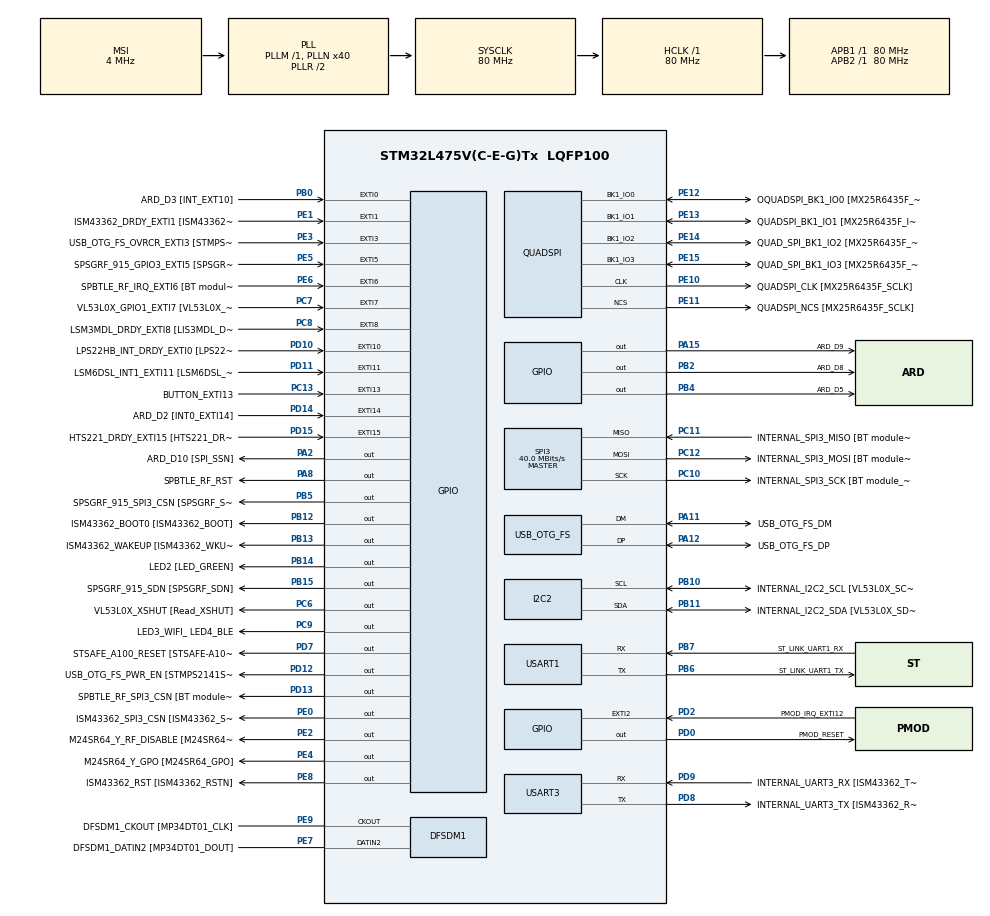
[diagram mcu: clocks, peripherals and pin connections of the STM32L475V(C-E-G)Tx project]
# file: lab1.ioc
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FREERTOS.Tasks01=defaultTask,24,128,StartDefaultTask,Default,NULL,Dynamic,NULL,NULL;myTask02,24,128,StartTask02,Default,NULL,Dynamic,NULL,NULL
I2C2.Timing=0x10D19CE4
Mcu.Family=STM32L4
Mcu.Name=STM32L475V(C-E-G)Tx
Mcu.Package=LQFP100
NVIC.EXTI15_10_IRQn=true\:5\:0\:false\:false\:true\:true\:true\:true\:true
NVIC.EXTI9_5_IRQn=true\:5\:0\:false\:false\:true\:true\:true\:true\:true
NVIC.PriorityGroup=NVIC_PRIORITYGROUP_4
NVIC.TIM6_DAC_IRQn=true\:5\:0\:false\:false\:true\:true\:true\:true\:true
PA0.GPIO_Label=ARD_D1 [UART4_TX]
PA0.Signal=UART4_TX
PA1.GPIO_Label=ARD_D0 [UART4_RX]
PA1.Signal=UART4_RX
PA10.GPIO_Label=USB_OTG_FS_ID
PA10.Signal=USB_OTG_FS_ID
PA11.GPIO_Label=USB_OTG_FS_DM
PA11.Mode=Device_Only
PA11.Signal=USB_OTG_FS_DM
PA12.GPIO_Label=USB_OTG_FS_DP
PA12.Mode=Device_Only
PA12.Signal=USB_OTG_FS_DP
PA13\ (JTMS-SWDIO).GPIO_Label=SYS_JTMS_SWDIO
PA13\ (JTMS-SWDIO).Mode=Serial_Wire
PA13\ (JTMS-SWDIO).Signal=SYS_JTMS-SWDIO
PA14\ (JTCK-SWCLK).GPIO_Label=SYS_JTCK_SWCLK
PA14\ (JTCK-SWCLK).Mode=Serial_Wire
PA14\ (JTCK-SWCLK).Signal=SYS_JTCK-SWCLK
PA15\ (JTDI).GPIO_Label=ARD_D9
PA15\ (JTDI).Signal=GPIO_Output
PA2.GPIO_Label=ARD_D10 [SPI_SSN]
PA2.Signal=GPIO_Output
PA3.GPIO_Label=ARD_D4
PA3.Signal=S_TIM2_CH4
PA4.GPIO_Label=ARD_D7
PA4.Signal=ADCx_IN9
PA5.GPIO_Label=ARD_D13 [SPI1_SCK]
PA5.Signal=SPI1_SCK
PA6.GPIO_Label=ARD_D12 [SPI1_MISO]
PA6.Signal=SPI1_MISO
PA7.GPIO_Label=ARD_D11 [SPI1_MOSI]
PA7.Signal=SPI1_MOSI
PA8.GPIO_Label=SPBTLE_RF_RST
PA8.Signal=GPIO_Output
PA9.GPIO_Label=USB_OTG_FS_VBUS [STMPS2141STR_OUT]
PA9.Signal=USB_OTG_FS_VBUS
PB0.GPIO_Label=ARD_D3 [INT_EXT10]
PB0.Signal=GPXTI0
PB1.GPIO_Label=ARD_D6 [ADC1_IN6]
PB1.Signal=ADCx_IN16
PB10.GPIO_Label=INTERNAL_I2C2_SCL [VL53L0X_SCL]
PB10.GPIO_Pu=GPIO_PULLUP
PB10.Mode=I2C
PB10.Signal=I2C2_SCL
PB11.GPIO_Label=INTERNAL_I2C2_SDA [VL53L0X_SDA]
PB11.GPIO_Pu=GPIO_PULLUP
PB11.Mode=I2C
PB11.Signal=I2C2_SDA
PB12.GPIO_Label=ISM43362_BOOT0 [ISM43362_BOOT]
PB12.Signal=GPIO_Output
PB13.GPIO_Label=ISM43362_WAKEUP [ISM43362_WKUP]
PB13.Signal=GPIO_Output
PB14.GPIO_Label=LED2 [LED_GREEN]
PB14.Signal=GPIO_Output
PB15.GPIO_Label=SPSGRF_915_SDN [SPSGRF_SDN]
PB15.Signal=GPIO_Output
PB2.GPIO_Label=ARD_D8
PB2.Signal=GPIO_Output
PB3\ (JTDO-TRACESWO).GPIO_Label=SYS_JTD0_SWO
PB3\ (JTDO-TRACESWO).Signal=SYS_JTDO-SWO
PB4\ (NJTRST).GPIO_Label=ARD_D5
PB4\ (NJTRST).Signal=GPIO_Output
PB5.GPIO_Label=SPSGRF_915_SPI3_CSN [SPSGRF_SPI_CS]
PB5.PinState=GPIO_PIN_SET
PB5.Signal=GPIO_Output
PB6.GPIO_Label=ST_LINK_UART1_TX
PB6.Mode=Asynchronous
PB6.Signal=USART1_TX
PB7.GPIO_Label=ST_LINK_UART1_RX
PB7.Mode=Asynchronous
PB7.Signal=USART1_RX
PB8.GPIO_Label=ARD_D15 [I2C1_SCL]
PB8.Signal=I2C1_SCL
PB9.GPIO_Label=ARD_D14 [I2C1_SDA]
PB9.Signal=I2C1_SDA
PC0.GPIO_Label=ARD_A5 [ADC]
PC0.Signal=ADCx_IN1
PC1.GPIO_Label=ARD_A4 [ADC]
PC1.Signal=ADCx_IN2
PC10.GPIO_Label=INTERNAL_SPI3_SCK [BT module_SPI_SCLK] [ISM43362_SCK]
PC10.Mode=Full_Duplex_Master
PC10.Signal=SPI3_SCK
PC11.GPIO_Label=INTERNAL_SPI3_MISO [BT module_SPI_MISO] [ISM43362_MISO]
PC11.Mode=Full_Duplex_Master
PC11.Signal=SPI3_MISO
PC12.GPIO_Label=INTERNAL_SPI3_MOSI [BT module_SPI_MOSI] [ISM43362_MOSI]
PC12.Mode=Full_Duplex_Master
PC12.Signal=SPI3_MOSI
PC13.GPIO_Label=BUTTON_EXTI13
PC13.GPIO_ModeDefaultEXTI=GPIO_MODE_IT_FALLING
PC13.Signal=GPXTI13
PC14-OSC32_IN\ (PC14).Mode=LSE-External-Oscillator
PC14-OSC32_IN\ (PC14).Signal=RCC_OSC32_IN
PC15-OSC32_OUT\ (PC15).Mode=LSE-External-Oscillator
PC15-OSC32_OUT\ (PC15).Signal=RCC_OSC32_OUT
PC2.GPIO_Label=ARD_A3 [ADC]
PC2.Signal=ADCx_IN3
PC3.GPIO_Label=ARD_A2 [ADC]
PC3.Signal=ADCx_IN4
PC4.GPIO_Label=ARD_A1 [ADC]
PC4.Signal=ADCx_IN13
PC5.GPIO_Label=ARD_A0 [ADC]
PC5.Signal=ADCx_IN14
PC6.GPIO_Label=VL53L0X_XSHUT [Read_XSHUT]
PC6.Signal=GPIO_Output
PC7.GPIO_Label=VL53L0X_GPIO1_EXTI7 [VL53L0X_GPIO1]
PC7.Signal=GPXTI7
PC8.GPIO_Label=LSM3MDL_DRDY_EXTI8 [LIS3MDL_DRDY]
PC8.Signal=GPXTI8
PC9.GPIO_Label=LED3_WIFI_ LED4_BLE
PC9.Signal=GPIO_Output
PD0.GPIO_Label=PMOD_RESET
PD0.Signal=GPIO_Output
PD1.GPIO_Label=PMOD_SPI2_SCK
PD1.Signal=SPI2_SCK
PD10.GPIO_Label=LPS22HB_INT_DRDY_EXTI0 [LPS22HB_INT_DRDY] 
PD10.Signal=GPXTI10
PD11.GPIO_Label=LSM6DSL_INT1_EXTI11 [LSM6DSL_INT1]
PD11.Signal=GPXTI11
PD12.GPIO_Label=USB_OTG_FS_PWR_EN [STMPS2141STR_EN]
PD12.Signal=GPIO_Output
PD13.GPIO_Label=SPBTLE_RF_SPI3_CSN [BT module_SPI_CS]
PD13.PinState=GPIO_PIN_SET
PD13.Signal=GPIO_Output
PD14.GPIO_Label=ARD_D2 [INT0_EXTI14]
PD14.Signal=GPXTI14
PD15.GPIO_Label=HTS221_DRDY_EXTI15 [HTS221_DRDY]
PD15.Signal=GPXTI15
PD2.GPIO_Label=PMOD_IRQ_EXTI12
PD2.Signal=GPXTI2
PD3.GPIO_Label=PMOD_UART2_CTS
PD3.Signal=USART2_CTS
PD4.GPIO_Label=PMOD_UART2_RTS
PD4.Signal=USART2_RTS
PD5.GPIO_Label=PMOD_UART2_TX
PD5.Signal=USART2_TX
PD6.GPIO_Label=PMOD_UART2_RX
PD6.Signal=USART2_RX
PD7.GPIO_Label=STSAFE_A100_RESET [STSAFE-A100_RESET]
PD7.Signal=GPIO_Output
PD8.GPIO_Label=INTERNAL_UART3_TX [ISM43362_RX]
PD8.Mode=Asynchronous
PD8.Signal=USART3_TX
PD9.GPIO_Label=INTERNAL_UART3_RX [ISM43362_TX]
PD9.Mode=Asynchronous
PD9.Signal=USART3_RX
PE0.GPIO_Label=ISM43362_SPI3_CSN [ISM43362_SSN]
PE0.PinState=GPIO_PIN_SET
PE0.Signal=GPIO_Output
PE1.GPIO_Label=ISM43362_DRDY_EXTI1 [ISM43362_DATARDY]
PE1.Signal=GPXTI1
PE10.GPIO_Label=QUADSPI_CLK [MX25R6435F_SCLK]
PE10.Mode=Single Bank
PE10.Signal=QUADSPI_CLK
PE11.GPIO_Label=QUADSPI_NCS [MX25R6435F_SCLK]
PE11.Mode=Single Bank
PE11.Signal=QUADSPI_NCS
PE12.GPIO_Label=OQUADSPI_BK1_IO0 [MX25R6435F_IO0]
PE12.Mode=Single Bank
PE12.Signal=QUADSPI_BK1_IO0
PE13.GPIO_Label=QUADSPI_BK1_IO1 [MX25R6435F_IO1]
PE13.Mode=Single Bank
PE13.Signal=QUADSPI_BK1_IO1
PE14.GPIO_Label=QUAD_SPI_BK1_IO2 [MX25R6435F_IO2]
PE14.Mode=Single Bank
PE14.Signal=QUADSPI_BK1_IO2
PE15.GPIO_Label=QUAD_SPI_BK1_IO3 [MX25R6435F_IO3]
PE15.Mode=Single Bank
PE15.Signal=QUADSPI_BK1_IO3
PE2.GPIO_Label=M24SR64_Y_RF_DISABLE [M24SR64_RFDIS]
PE2.Signal=GPIO_Output
PE3.GPIO_Label=USB_OTG_FS_OVRCR_EXTI3 [STMPS2141STR_FAULT]
PE3.Signal=GPXTI3
PE4.GPIO_Label=M24SR64_Y_GPO [M24SR64_GPO]
PE4.Signal=GPIO_Output
PE5.GPIO_Label=SPSGRF_915_GPIO3_EXTI5 [SPSGRF_GPIO_3]
PE5.Signal=GPXTI5
PE6.GPIO_Label=SPBTLE_RF_IRQ_EXTI6 [BT module_SPI_IRQ]
PE6.Signal=GPXTI6
PE7.GPIO_Label=DFSDM1_DATIN2 [MP34DT01_DOUT]
PE7.Signal=S_DATAIN2DFSDM1
PE8.GPIO_Label=ISM43362_RST [ISM43362_RSTN]
PE8.Signal=GPIO_Output
PE9.GPIO_Label=DFSDM1_CKOUT [MP34DT01_CLK]
PE9.Signal=S_CKOUTDFSDM1
ProjectManager.HeapSize=0x200
ProjectManager.StackSize=0x400
ProjectManager.TargetToolchain=STM32CubeIDE
QUADSPI.ClockPrescaler=2
QUADSPI.FifoThreshold=4
QUADSPI.FlashSize=23
QUADSPI.SampleShifting=QSPI_SAMPLE_SHIFTING_HALFCYCLE
RCC.ADCFreq_Value=48000000
RCC.AHBFreq_Value=80000000
RCC.APB1Freq_Value=80000000
RCC.APB1TimFreq_Value=80000000
RCC.APB2Freq_Value=80000000
RCC.APB2TimFreq_Value=80000000
RCC.CortexFreq_Value=80000000
RCC.HCLKFreq_Value=80000000
RCC.HSE_VALUE=8000000
RCC.HSI_VALUE=16000000
RCC.MSI_VALUE=4000000
RCC.PLLN=40
RCC.PLLSAI1N=24
RCC.SYSCLKFreq_VALUE=80000000
RCC.SYSCLKSource=RCC_SYSCLKSOURCE_PLLCLK
RCC.USBFreq_Value=48000000
RCC.VCOOutputFreq_Value=160000000
SH.ADCx_IN1.0=ADC1_IN1
SH.ADCx_IN13.0=ADC1_IN13
SH.ADCx_IN14.0=ADC1_IN14
SH.ADCx_IN16.0=ADC1_IN16
SH.ADCx_IN2.0=ADC1_IN2
SH.ADCx_IN3.0=ADC1_IN3
SH.ADCx_IN4.0=ADC1_IN4
SH.ADCx_IN9.0=ADC1_IN9
SH.S_CKOUTDFSDM1.0=DFSDM1_CKOUT,CKOUT
SH.S_CKOUTDFSDM1.1=DFSDM1_CKOUT,PDM_SPI_Input_from_ch12_and_Internal_Clock
SH.S_DATAIN2DFSDM1.0=DFSDM1_DATIN2,PDM_SPI_Input_from_ch12_and_Internal_Clock
SH.S_TIM2_CH4.0=TIM2_CH4
SPI3.CalculateBaudRate=40.0 MBits/s
SPI3.Direction=SPI_DIRECTION_2LINES
SPI3.Mode=SPI_MODE_MASTER
SPI3.VirtualType=VM_MASTER
TIM6.AutoReloadPreload=TIM_AUTORELOAD_PRELOAD_ENABLE
TIM6.Period=19999
TIM6.Prescaler=39999
USART1.VirtualMode-Asynchronous=VM_ASYNC
USART3.VirtualMode-Asynchronous=VM_ASYNC
USB_OTG_FS.VirtualMode=Device_Only
VP_FREERTOS_VS_CMSIS_V2.Mode=CMSIS_V2
VP_TIM6_VS_ClockSourceINT.Mode=Enable_Timer
board=B-L475E-IOT01A2

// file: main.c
/* USER CODE BEGIN Header */
/**
  ******************************************************************************
  * @file           : main.c
  * @brief          : Main program body
  ******************************************************************************
  * @attention
  *
  * Copyright (c) 2024 STMicroelectronics.
  * All rights reserved.
  *
  * This software is licensed under terms that can be found in the LICENSE file
  * in the root directory of this software component.
  * If no LICENSE file comes with this software, it is provided AS-IS.
  *
  ******************************************************************************
  */
/* USER CODE END Header */
#include "main.h"
#include "cmsis_os.h"

DFSDM_Channel_HandleTypeDef hdfsdm1_channel1;

I2C_HandleTypeDef hi2c2;

QSPI_HandleTypeDef hqspi;

SPI_HandleTypeDef hspi3;

TIM_HandleTypeDef htim6;

UART_HandleTypeDef huart1;
UART_HandleTypeDef huart3;

PCD_HandleTypeDef hpcd_USB_OTG_FS;

/* Definitions for defaultTask */
osThreadId_t defaultTaskHandle;
const osThreadAttr_t defaultTask_attributes = {
  .name = "defaultTask",
  .stack_size = 128 * 4,
  .priority = (osPriority_t) osPriorityNormal,
};
/* Definitions for myTask02 */
osThreadId_t myTask02Handle;
const osThreadAttr_t myTask02_attributes = {
  .name = "myTask02",
  .stack_size = 128 * 4,
  .priority = (osPriority_t) osPriorityNormal,
};
/* USER CODE BEGIN PV */
osSemaphoreId s_id, t_id;
osMutexId_t m_id;
/* USER CODE END PV */

void SystemClock_Config(void);
static void MX_GPIO_Init(void);
static void MX_DFSDM1_Init(void);
static void MX_I2C2_Init(void);
static void MX_QUADSPI_Init(void);
static void MX_SPI3_Init(void);
static void MX_USART1_UART_Init(void);
static void MX_USART3_UART_Init(void);
static void MX_USB_OTG_FS_PCD_Init(void);
static void MX_TIM6_Init(void);
void StartDefaultTask(void *argument);
void StartTask02(void *argument);

int main(void)
{

  /* MCU Configuration--------------------------------------------------------*/

  /* Reset of all peripherals, Initializes the Flash interface and the Systick. */
  HAL_Init();

  /* Configure the system clock */
  SystemClock_Config();

  /* Initialize all configured peripherals */
  MX_GPIO_Init();
  MX_DFSDM1_Init();
  MX_I2C2_Init();
  MX_QUADSPI_Init();
  MX_SPI3_Init();
  MX_USART1_UART_Init();
  MX_USART3_UART_Init();
  MX_USB_OTG_FS_PCD_Init();
  MX_TIM6_Init();

  /* Init scheduler */
  osKernelInitialize();

  /* USER CODE BEGIN RTOS_MUTEX */
  /* add mutexes, ... */
  m_id = osMutexNew(NULL);
  /* USER CODE END RTOS_MUTEX */

  /* USER CODE BEGIN RTOS_SEMAPHORES */
  /* add semaphores, ... */
  s_id = osSemaphoreNew(1,0,NULL);
  t_id = osSemaphoreNew(1,0,NULL);
  /* USER CODE END RTOS_SEMAPHORES */

  /* Create the thread(s) */
  /* creation of defaultTask */
  defaultTaskHandle = osThreadNew(StartDefaultTask, NULL, &defaultTask_attributes);

  /* creation of myTask02 */
  myTask02Handle = osThreadNew(StartTask02, NULL, &myTask02_attributes);

  /* Start scheduler */
  osKernelStart();

  /* We should never get here as control is now taken by the scheduler */

  /* Infinite loop */
  while (1)
  {

  }
}

void SystemClock_Config(void)
{
  RCC_OscInitTypeDef RCC_OscInitStruct = {0};
  RCC_ClkInitTypeDef RCC_ClkInitStruct = {0};

  /** Configure the main internal regulator output voltage
  */
  if (HAL_PWREx_ControlVoltageScaling(PWR_REGULATOR_VOLTAGE_SCALE1) != HAL_OK)
  {
    Error_Handler();
  }

  /** Configure LSE Drive Capability
  */
  HAL_PWR_EnableBkUpAccess();
  __HAL_RCC_LSEDRIVE_CONFIG(RCC_LSEDRIVE_LOW);

  /** Initializes the RCC Oscillators according to the specified parameters
  * in the RCC_OscInitTypeDef structure.
  */
  RCC_OscInitStruct.OscillatorType = RCC_OSCILLATORTYPE_LSE|RCC_OSCILLATORTYPE_MSI;
  RCC_OscInitStruct.LSEState = RCC_LSE_ON;
  RCC_OscInitStruct.MSIState = RCC_MSI_ON;
  RCC_OscInitStruct.MSICalibrationValue = 0;
  RCC_OscInitStruct.MSIClockRange = RCC_MSIRANGE_6;
  RCC_OscInitStruct.PLL.PLLState = RCC_PLL_ON;
  RCC_OscInitStruct.PLL.PLLSource = RCC_PLLSOURCE_MSI;
  RCC_OscInitStruct.PLL.PLLM = 1;
  RCC_OscInitStruct.PLL.PLLN = 40;
  RCC_OscInitStruct.PLL.PLLP = RCC_PLLP_DIV7;
  RCC_OscInitStruct.PLL.PLLQ = RCC_PLLQ_DIV2;
  RCC_OscInitStruct.PLL.PLLR = RCC_PLLR_DIV2;
  if (HAL_RCC_OscConfig(&RCC_OscInitStruct) != HAL_OK)
  {
    Error_Handler();
  }

  /** Initializes the CPU, AHB and APB buses clocks
  */
  RCC_ClkInitStruct.ClockType = RCC_CLOCKTYPE_HCLK|RCC_CLOCKTYPE_SYSCLK
                              |RCC_CLOCKTYPE_PCLK1|RCC_CLOCKTYPE_PCLK2;
  RCC_ClkInitStruct.SYSCLKSource = RCC_SYSCLKSOURCE_PLLCLK;
  RCC_ClkInitStruct.AHBCLKDivider = RCC_SYSCLK_DIV1;
  RCC_ClkInitStruct.APB1CLKDivider = RCC_HCLK_DIV1;
  RCC_ClkInitStruct.APB2CLKDivider = RCC_HCLK_DIV1;

  if (HAL_RCC_ClockConfig(&RCC_ClkInitStruct, FLASH_LATENCY_4) != HAL_OK)
  {
    Error_Handler();
  }

  /** Enable MSI Auto calibration
  */
  HAL_RCCEx_EnableMSIPLLMode();
}

static void MX_DFSDM1_Init(void)
{

  hdfsdm1_channel1.Instance = DFSDM1_Channel1;
  hdfsdm1_channel1.Init.OutputClock.Activation = ENABLE;
  hdfsdm1_channel1.Init.OutputClock.Selection = DFSDM_CHANNEL_OUTPUT_CLOCK_SYSTEM;
  hdfsdm1_channel1.Init.OutputClock.Divider = 2;
  hdfsdm1_channel1.Init.Input.Multiplexer = DFSDM_CHANNEL_EXTERNAL_INPUTS;
  hdfsdm1_channel1.Init.Input.DataPacking = DFSDM_CHANNEL_STANDARD_MODE;
  hdfsdm1_channel1.Init.Input.Pins = DFSDM_CHANNEL_FOLLOWING_CHANNEL_PINS;
  hdfsdm1_channel1.Init.SerialInterface.Type = DFSDM_CHANNEL_SPI_RISING;
  hdfsdm1_channel1.Init.SerialInterface.SpiClock = DFSDM_CHANNEL_SPI_CLOCK_INTERNAL;
  hdfsdm1_channel1.Init.Awd.FilterOrder = DFSDM_CHANNEL_FASTSINC_ORDER;
  hdfsdm1_channel1.Init.Awd.Oversampling = 1;
  hdfsdm1_channel1.Init.Offset = 0;
  hdfsdm1_channel1.Init.RightBitShift = 0x00;
  if (HAL_DFSDM_ChannelInit(&hdfsdm1_channel1) != HAL_OK)
  {
    Error_Handler();
  }

}

static void MX_I2C2_Init(void)
{

  hi2c2.Instance = I2C2;
  hi2c2.Init.Timing = 0x10D19CE4;
  hi2c2.Init.OwnAddress1 = 0;
  hi2c2.Init.AddressingMode = I2C_ADDRESSINGMODE_7BIT;
  hi2c2.Init.DualAddressMode = I2C_DUALADDRESS_DISABLE;
  hi2c2.Init.OwnAddress2 = 0;
  hi2c2.Init.OwnAddress2Masks = I2C_OA2_NOMASK;
  hi2c2.Init.GeneralCallMode = I2C_GENERALCALL_DISABLE;
  hi2c2.Init.NoStretchMode = I2C_NOSTRETCH_DISABLE;
  if (HAL_I2C_Init(&hi2c2) != HAL_OK)
  {
    Error_Handler();
  }

  /** Configure Analogue filter
  */
  if (HAL_I2CEx_ConfigAnalogFilter(&hi2c2, I2C_ANALOGFILTER_ENABLE) != HAL_OK)
  {
    Error_Handler();
  }

  /** Configure Digital filter
  */
  if (HAL_I2CEx_ConfigDigitalFilter(&hi2c2, 0) != HAL_OK)
  {
    Error_Handler();
  }

}

static void MX_QUADSPI_Init(void)
{

  /* QUADSPI parameter configuration*/
  hqspi.Instance = QUADSPI;
  hqspi.Init.ClockPrescaler = 2;
  hqspi.Init.FifoThreshold = 4;
  hqspi.Init.SampleShifting = QSPI_SAMPLE_SHIFTING_HALFCYCLE;
  hqspi.Init.FlashSize = 23;
  hqspi.Init.ChipSelectHighTime = QSPI_CS_HIGH_TIME_1_CYCLE;
  hqspi.Init.ClockMode = QSPI_CLOCK_MODE_0;
  if (HAL_QSPI_Init(&hqspi) != HAL_OK)
  {
    Error_Handler();
  }

}

static void MX_SPI3_Init(void)
{

  /* SPI3 parameter configuration*/
  hspi3.Instance = SPI3;
  hspi3.Init.Mode = SPI_MODE_MASTER;
  hspi3.Init.Direction = SPI_DIRECTION_2LINES;
  hspi3.Init.DataSize = SPI_DATASIZE_4BIT;
  hspi3.Init.CLKPolarity = SPI_POLARITY_LOW;
  hspi3.Init.CLKPhase = SPI_PHASE_1EDGE;
  hspi3.Init.NSS = SPI_NSS_SOFT;
  hspi3.Init.BaudRatePrescaler = SPI_BAUDRATEPRESCALER_2;
  hspi3.Init.FirstBit = SPI_FIRSTBIT_MSB;
  hspi3.Init.TIMode = SPI_TIMODE_DISABLE;
  hspi3.Init.CRCCalculation = SPI_CRCCALCULATION_DISABLE;
  hspi3.Init.CRCPolynomial = 7;
  hspi3.Init.CRCLength = SPI_CRC_LENGTH_DATASIZE;
  hspi3.Init.NSSPMode = SPI_NSS_PULSE_ENABLE;
  if (HAL_SPI_Init(&hspi3) != HAL_OK)
  {
    Error_Handler();
  }

}

static void MX_TIM6_Init(void)
{

  TIM_MasterConfigTypeDef sMasterConfig = {0};

  htim6.Instance = TIM6;
  htim6.Init.Prescaler = 39999;
  htim6.Init.CounterMode = TIM_COUNTERMODE_UP;
  htim6.Init.Period = 19999;
  htim6.Init.AutoReloadPreload = TIM_AUTORELOAD_PRELOAD_ENABLE;
  if (HAL_TIM_Base_Init(&htim6) != HAL_OK)
  {
    Error_Handler();
  }
  sMasterConfig.MasterOutputTrigger = TIM_TRGO_RESET;
  sMasterConfig.MasterSlaveMode = TIM_MASTERSLAVEMODE_DISABLE;
  if (HAL_TIMEx_MasterConfigSynchronization(&htim6, &sMasterConfig) != HAL_OK)
  {
    Error_Handler();
  }
  /* USER CODE BEGIN TIM6_Init 2 */
  HAL_TIM_Base_Start_IT(&htim6);
  /* USER CODE END TIM6_Init 2 */

}

static void MX_USART1_UART_Init(void)
{

  huart1.Instance = USART1;
  huart1.Init.BaudRate = 115200;
  huart1.Init.WordLength = UART_WORDLENGTH_8B;
  huart1.Init.StopBits = UART_STOPBITS_1;
  huart1.Init.Parity = UART_PARITY_NONE;
  huart1.Init.Mode = UART_MODE_TX_RX;
  huart1.Init.HwFlowCtl = UART_HWCONTROL_NONE;
  huart1.Init.OverSampling = UART_OVERSAMPLING_16;
  huart1.Init.OneBitSampling = UART_ONE_BIT_SAMPLE_DISABLE;
  huart1.AdvancedInit.AdvFeatureInit = UART_ADVFEATURE_NO_INIT;
  if (HAL_UART_Init(&huart1) != HAL_OK)
  {
    Error_Handler();
  }

}

static void MX_USART3_UART_Init(void)
{

  huart3.Instance = USART3;
  huart3.Init.BaudRate = 115200;
  huart3.Init.WordLength = UART_WORDLENGTH_8B;
  huart3.Init.StopBits = UART_STOPBITS_1;
  huart3.Init.Parity = UART_PARITY_NONE;
  huart3.Init.Mode = UART_MODE_TX_RX;
  huart3.Init.HwFlowCtl = UART_HWCONTROL_NONE;
  huart3.Init.OverSampling = UART_OVERSAMPLING_16;
  huart3.Init.OneBitSampling = UART_ONE_BIT_SAMPLE_DISABLE;
  huart3.AdvancedInit.AdvFeatureInit = UART_ADVFEATURE_NO_INIT;
  if (HAL_UART_Init(&huart3) != HAL_OK)
  {
    Error_Handler();
  }

}

static void MX_USB_OTG_FS_PCD_Init(void)
{

  hpcd_USB_OTG_FS.Instance = USB_OTG_FS;
  hpcd_USB_OTG_FS.Init.dev_endpoints = 6;
  hpcd_USB_OTG_FS.Init.speed = PCD_SPEED_FULL;
  hpcd_USB_OTG_FS.Init.phy_itface = PCD_PHY_EMBEDDED;
  hpcd_USB_OTG_FS.Init.Sof_enable = DISABLE;
  hpcd_USB_OTG_FS.Init.low_power_enable = DISABLE;
  hpcd_USB_OTG_FS.Init.lpm_enable = DISABLE;
  hpcd_USB_OTG_FS.Init.battery_charging_enable = DISABLE;
  hpcd_USB_OTG_FS.Init.use_dedicated_ep1 = DISABLE;
  hpcd_USB_OTG_FS.Init.vbus_sensing_enable = DISABLE;
  if (HAL_PCD_Init(&hpcd_USB_OTG_FS) != HAL_OK)
  {
    Error_Handler();
  }

}

static void MX_GPIO_Init(void)
{
  GPIO_InitTypeDef GPIO_InitStruct = {0};

  /* GPIO Ports Clock Enable */
  __HAL_RCC_GPIOE_CLK_ENABLE();
  __HAL_RCC_GPIOC_CLK_ENABLE();
  __HAL_RCC_GPIOA_CLK_ENABLE();
  __HAL_RCC_GPIOB_CLK_ENABLE();
  __HAL_RCC_GPIOD_CLK_ENABLE();

  /*Configure GPIO pin Output Level */
  HAL_GPIO_WritePin(GPIOE, M24SR64_Y_RF_DISABLE_Pin|M24SR64_Y_GPO_Pin|ISM43362_RST_Pin, GPIO_PIN_RESET);

  /*Configure GPIO pin Output Level */
  HAL_GPIO_WritePin(GPIOA, ARD_D10_Pin|SPBTLE_RF_RST_Pin|ARD_D9_Pin, GPIO_PIN_RESET);

  /*Configure GPIO pin Output Level */
  HAL_GPIO_WritePin(GPIOB, ARD_D8_Pin|ISM43362_BOOT0_Pin|ISM43362_WAKEUP_Pin|LED2_Pin
                          |SPSGRF_915_SDN_Pin|ARD_D5_Pin, GPIO_PIN_RESET);

  /*Configure GPIO pin Output Level */
  HAL_GPIO_WritePin(GPIOD, USB_OTG_FS_PWR_EN_Pin|PMOD_RESET_Pin|STSAFE_A100_RESET_Pin, GPIO_PIN_RESET);

  /*Configure GPIO pin Output Level */
  HAL_GPIO_WritePin(SPBTLE_RF_SPI3_CSN_GPIO_Port, SPBTLE_RF_SPI3_CSN_Pin, GPIO_PIN_SET);

  /*Configure GPIO pin Output Level */
  HAL_GPIO_WritePin(GPIOC, VL53L0X_XSHUT_Pin|LED3_WIFI__LED4_BLE_Pin, GPIO_PIN_RESET);

  /*Configure GPIO pin Output Level */
  HAL_GPIO_WritePin(SPSGRF_915_SPI3_CSN_GPIO_Port, SPSGRF_915_SPI3_CSN_Pin, GPIO_PIN_SET);

  /*Configure GPIO pin Output Level */
  HAL_GPIO_WritePin(ISM43362_SPI3_CSN_GPIO_Port, ISM43362_SPI3_CSN_Pin, GPIO_PIN_SET);

  /*Configure GPIO pins : M24SR64_Y_RF_DISABLE_Pin M24SR64_Y_GPO_Pin ISM43362_RST_Pin ISM43362_SPI3_CSN_Pin */
  GPIO_InitStruct.Pin = M24SR64_Y_RF_DISABLE_Pin|M24SR64_Y_GPO_Pin|ISM43362_RST_Pin|ISM43362_SPI3_CSN_Pin;
  GPIO_InitStruct.Mode = GPIO_MODE_OUTPUT_PP;
  GPIO_InitStruct.Pull = GPIO_NOPULL;
  GPIO_InitStruct.Speed = GPIO_SPEED_FREQ_LOW;
  HAL_GPIO_Init(GPIOE, &GPIO_InitStruct);

  /*Configure GPIO pins : USB_OTG_FS_OVRCR_EXTI3_Pin SPSGRF_915_GPIO3_EXTI5_Pin SPBTLE_RF_IRQ_EXTI6_Pin ISM43362_DRDY_EXTI1_Pin */
  GPIO_InitStruct.Pin = USB_OTG_FS_OVRCR_EXTI3_Pin|SPSGRF_915_GPIO3_EXTI5_Pin|SPBTLE_RF_IRQ_EXTI6_Pin|ISM43362_DRDY_EXTI1_Pin;
  GPIO_InitStruct.Mode = GPIO_MODE_IT_RISING;
  GPIO_InitStruct.Pull = GPIO_NOPULL;
  HAL_GPIO_Init(GPIOE, &GPIO_InitStruct);

  /*Configure GPIO pin : BUTTON_EXTI13_Pin */
  GPIO_InitStruct.Pin = BUTTON_EXTI13_Pin;
  GPIO_InitStruct.Mode = GPIO_MODE_IT_FALLING;
  GPIO_InitStruct.Pull = GPIO_NOPULL;
  HAL_GPIO_Init(BUTTON_EXTI13_GPIO_Port, &GPIO_InitStruct);

  /*Configure GPIO pins : ARD_A5_Pin ARD_A4_Pin ARD_A3_Pin ARD_A2_Pin
                           ARD_A1_Pin ARD_A0_Pin */
  GPIO_InitStruct.Pin = ARD_A5_Pin|ARD_A4_Pin|ARD_A3_Pin|ARD_A2_Pin
                          |ARD_A1_Pin|ARD_A0_Pin;
  GPIO_InitStruct.Mode = GPIO_MODE_ANALOG_ADC_CONTROL;
  GPIO_InitStruct.Pull = GPIO_NOPULL;
  HAL_GPIO_Init(GPIOC, &GPIO_InitStruct);

  /*Configure GPIO pins : ARD_D1_Pin ARD_D0_Pin */
  GPIO_InitStruct.Pin = ARD_D1_Pin|ARD_D0_Pin;
  GPIO_InitStruct.Mode = GPIO_MODE_AF_PP;
  GPIO_InitStruct.Pull = GPIO_NOPULL;
  GPIO_InitStruct.Speed = GPIO_SPEED_FREQ_VERY_HIGH;
  GPIO_InitStruct.Alternate = GPIO_AF8_UART4;
  HAL_GPIO_Init(GPIOA, &GPIO_InitStruct);

  /*Configure GPIO pins : ARD_D10_Pin SPBTLE_RF_RST_Pin ARD_D9_Pin */
  GPIO_InitStruct.Pin = ARD_D10_Pin|SPBTLE_RF_RST_Pin|ARD_D9_Pin;
  GPIO_InitStruct.Mode = GPIO_MODE_OUTPUT_PP;
  GPIO_InitStruct.Pull = GPIO_NOPULL;
  GPIO_InitStruct.Speed = GPIO_SPEED_FREQ_LOW;
  HAL_GPIO_Init(GPIOA, &GPIO_InitStruct);

  /*Configure GPIO pin : ARD_D4_Pin */
  GPIO_InitStruct.Pin = ARD_D4_Pin;
  GPIO_InitStruct.Mode = GPIO_MODE_AF_PP;
  GPIO_InitStruct.Pull = GPIO_NOPULL;
  GPIO_InitStruct.Speed = GPIO_SPEED_FREQ_LOW;
  GPIO_InitStruct.Alternate = GPIO_AF1_TIM2;
  HAL_GPIO_Init(ARD_D4_GPIO_Port, &GPIO_InitStruct);

  /*Configure GPIO pin : ARD_D7_Pin */
  GPIO_InitStruct.Pin = ARD_D7_Pin;
  GPIO_InitStruct.Mode = GPIO_MODE_ANALOG_ADC_CONTROL;
  GPIO_InitStruct.Pull = GPIO_NOPULL;
  HAL_GPIO_Init(ARD_D7_GPIO_Port, &GPIO_InitStruct);

  /*Configure GPIO pins : ARD_D13_Pin ARD_D12_Pin ARD_D11_Pin */
  GPIO_InitStruct.Pin = ARD_D13_Pin|ARD_D12_Pin|ARD_D11_Pin;
  GPIO_InitStruct.Mode = GPIO_MODE_AF_PP;
  GPIO_InitStruct.Pull = GPIO_NOPULL;
  GPIO_InitStruct.Speed = GPIO_SPEED_FREQ_VERY_HIGH;
  GPIO_InitStruct.Alternate = GPIO_AF5_SPI1;
  HAL_GPIO_Init(GPIOA, &GPIO_InitStruct);

  /*Configure GPIO pin : ARD_D3_Pin */
  GPIO_InitStruct.Pin = ARD_D3_Pin;
  GPIO_InitStruct.Mode = GPIO_MODE_IT_RISING;
  GPIO_InitStruct.Pull = GPIO_NOPULL;
  HAL_GPIO_Init(ARD_D3_GPIO_Port, &GPIO_InitStruct);

  /*Configure GPIO pin : ARD_D6_Pin */
  GPIO_InitStruct.Pin = ARD_D6_Pin;
  GPIO_InitStruct.Mode = GPIO_MODE_ANALOG_ADC_CONTROL;
  GPIO_InitStruct.Pull = GPIO_NOPULL;
  HAL_GPIO_Init(ARD_D6_GPIO_Port, &GPIO_InitStruct);

  /*Configure GPIO pins : ARD_D8_Pin ISM43362_BOOT0_Pin ISM43362_WAKEUP_Pin LED2_Pin
                           SPSGRF_915_SDN_Pin ARD_D5_Pin SPSGRF_915_SPI3_CSN_Pin */
  GPIO_InitStruct.Pin = ARD_D8_Pin|ISM43362_BOOT0_Pin|ISM43362_WAKEUP_Pin|LED2_Pin
                          |SPSGRF_915_SDN_Pin|ARD_D5_Pin|SPSGRF_915_SPI3_CSN_Pin;
  GPIO_InitStruct.Mode = GPIO_MODE_OUTPUT_PP;
  GPIO_InitStruct.Pull = GPIO_NOPULL;
  GPIO_InitStruct.Speed = GPIO_SPEED_FREQ_LOW;
  HAL_GPIO_Init(GPIOB, &GPIO_InitStruct);

  /*Configure GPIO pins : LPS22HB_INT_DRDY_EXTI0_Pin LSM6DSL_INT1_EXTI11_Pin ARD_D2_Pin HTS221_DRDY_EXTI15_Pin
                           PMOD_IRQ_EXTI12_Pin */
  GPIO_InitStruct.Pin = LPS22HB_INT_DRDY_EXTI0_Pin|LSM6DSL_INT1_EXTI11_Pin|ARD_D2_Pin|HTS221_DRDY_EXTI15_Pin
                          |PMOD_IRQ_EXTI12_Pin;
  GPIO_InitStruct.Mode = GPIO_MODE_IT_RISING;
  GPIO_InitStruct.Pull = GPIO_NOPULL;
  HAL_GPIO_Init(GPIOD, &GPIO_InitStruct);

  /*Configure GPIO pins : USB_OTG_FS_PWR_EN_Pin SPBTLE_RF_SPI3_CSN_Pin PMOD_RESET_Pin STSAFE_A100_RESET_Pin */
  GPIO_InitStruct.Pin = USB_OTG_FS_PWR_EN_Pin|SPBTLE_RF_SPI3_CSN_Pin|PMOD_RESET_Pin|STSAFE_A100_RESET_Pin;
  GPIO_InitStruct.Mode = GPIO_MODE_OUTPUT_PP;
  GPIO_InitStruct.Pull = GPIO_NOPULL;
  GPIO_InitStruct.Speed = GPIO_SPEED_FREQ_LOW;
  HAL_GPIO_Init(GPIOD, &GPIO_InitStruct);

  /*Configure GPIO pins : VL53L0X_XSHUT_Pin LED3_WIFI__LED4_BLE_Pin */
  GPIO_InitStruct.Pin = VL53L0X_XSHUT_Pin|LED3_WIFI__LED4_BLE_Pin;
  GPIO_InitStruct.Mode = GPIO_MODE_OUTPUT_PP;
  GPIO_InitStruct.Pull = GPIO_NOPULL;
  GPIO_InitStruct.Speed = GPIO_SPEED_FREQ_LOW;
  HAL_GPIO_Init(GPIOC, &GPIO_InitStruct);

  /*Configure GPIO pins : VL53L0X_GPIO1_EXTI7_Pin LSM3MDL_DRDY_EXTI8_Pin */
  GPIO_InitStruct.Pin = VL53L0X_GPIO1_EXTI7_Pin|LSM3MDL_DRDY_EXTI8_Pin;
  GPIO_InitStruct.Mode = GPIO_MODE_IT_RISING;
  GPIO_InitStruct.Pull = GPIO_NOPULL;
  HAL_GPIO_Init(GPIOC, &GPIO_InitStruct);

  /*Configure GPIO pin : PMOD_SPI2_SCK_Pin */
  GPIO_InitStruct.Pin = PMOD_SPI2_SCK_Pin;
  GPIO_InitStruct.Mode = GPIO_MODE_AF_PP;
  GPIO_InitStruct.Pull = GPIO_NOPULL;
  GPIO_InitStruct.Speed = GPIO_SPEED_FREQ_VERY_HIGH;
  GPIO_InitStruct.Alternate = GPIO_AF5_SPI2;
  HAL_GPIO_Init(PMOD_SPI2_SCK_GPIO_Port, &GPIO_InitStruct);

  /*Configure GPIO pins : PMOD_UART2_CTS_Pin PMOD_UART2_RTS_Pin PMOD_UART2_TX_Pin PMOD_UART2_RX_Pin */
  GPIO_InitStruct.Pin = PMOD_UART2_CTS_Pin|PMOD_UART2_RTS_Pin|PMOD_UART2_TX_Pin|PMOD_UART2_RX_Pin;
  GPIO_InitStruct.Mode = GPIO_MODE_AF_PP;
  GPIO_InitStruct.Pull = GPIO_NOPULL;
  GPIO_InitStruct.Speed = GPIO_SPEED_FREQ_VERY_HIGH;
  GPIO_InitStruct.Alternate = GPIO_AF7_USART2;
  HAL_GPIO_Init(GPIOD, &GPIO_InitStruct);

  /*Configure GPIO pins : ARD_D15_Pin ARD_D14_Pin */
  GPIO_InitStruct.Pin = ARD_D15_Pin|ARD_D14_Pin;
  GPIO_InitStruct.Mode = GPIO_MODE_AF_OD;
  GPIO_InitStruct.Pull = GPIO_NOPULL;
  GPIO_InitStruct.Speed = GPIO_SPEED_FREQ_VERY_HIGH;
  GPIO_InitStruct.Alternate = GPIO_AF4_I2C1;
  HAL_GPIO_Init(GPIOB, &GPIO_InitStruct);

  /* EXTI interrupt init*/
  HAL_NVIC_SetPriority(EXTI9_5_IRQn, 5, 0);
  HAL_NVIC_EnableIRQ(EXTI9_5_IRQn);

  HAL_NVIC_SetPriority(EXTI15_10_IRQn, 5, 0);
  HAL_NVIC_EnableIRQ(EXTI15_10_IRQn);

}

/* USER CODE BEGIN 4 */

void HAL_GPIO_EXTI_Callback(uint16_t GPIO_Pin)
{
	switch (GPIO_Pin)
	{
	case BUTTON_EXTI13_Pin:
		osSemaphoreRelease(s_id);
		break;
	default:
		break;
	}
}

void HAL_TIM_PeriodElapsedCallback(TIM_HandleTypeDef *htim){
	if(htim->Instance == TIM6){
		osSemaphoreRelease(t_id);
	}
}

/* USER CODE END 4 */

void StartDefaultTask(void *argument)
{
  /* USER CODE BEGIN 5 */
  /* Infinite loop */
  for(;;)
  {
    if(osSemaphoreAcquire(s_id, osWaitForever) == osOK){
    	if(osMutexAcquire(m_id, osWaitForever) == osOK){
    		for(int i=0;i<10;i++){
    			HAL_GPIO_TogglePin(GPIOB, LED2_Pin);
    			osDelay(500);
    		}
    		HAL_GPIO_WritePin(GPIOB, LED2_Pin, GPIO_PIN_RESET);
    		osMutexRelease(m_id);
    	}
    }
  }
  /* USER CODE END 5 */
}

void StartTask02(void *argument)
{
  /* USER CODE BEGIN StartTask02 */
  /* Infinite loop */
  for(;;)
  {
	  if(osSemaphoreAcquire(t_id, osWaitForever) == osOK){
		  if(osMutexAcquire(m_id, osWaitForever) == osOK){
	  			  for(int i=0;i<40;i++){
	  				  HAL_GPIO_TogglePin(GPIOB, LED2_Pin);
	  				  osDelay(50);
	  			  }
	  			  HAL_GPIO_WritePin(GPIOB, LED2_Pin, GPIO_PIN_RESET);
	  			  osMutexRelease(m_id);
		  }
	  }
  }
  /* USER CODE END StartTask02 */
}

void Error_Handler(void)
{
  __disable_irq();
  while (1)
  {
  }
}
